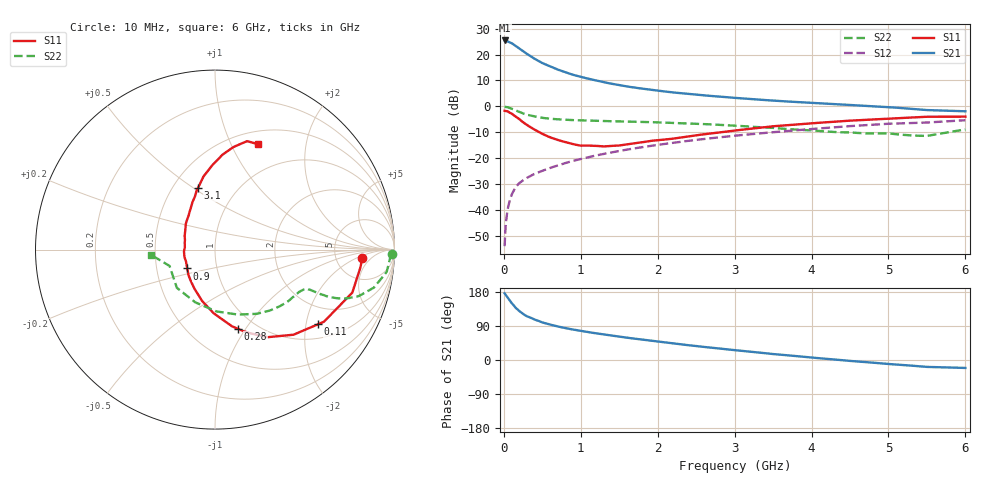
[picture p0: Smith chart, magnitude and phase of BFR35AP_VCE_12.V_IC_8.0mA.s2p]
! Infineon Technologies  Discrete & RF Semiconductors
! BFR35AP
! VCE =  12. V,  IC =  8.0 mA
! Common Emitter S-Parameters:  Nov 2015
# GHz  S  MA  R  50
!  f  S11  S21  S12  S22
! GHz  MAG  ANG  MAG  ANG  MAG  ANG  MAG  ANG
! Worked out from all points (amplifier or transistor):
!   210 points, 10 MHz to 6 GHz, reference 50 ohm
!   highest |S21| = 25.5 dB at 10 MHz (marker M1)
!   |S21| within 3 dB of that: start of sweep to 196.1 MHz
!   unconditionally stable (mu >= 1): 729 MHz to 2.799 GHz
!   at 185 MHz: K = 0.47, MSG = 26.4 dB, |S12| = -30.1 dB
!   at 1.52 GHz: K = 1.09, MAG = 10.8 dB, |S12| = -17.1 dB
!   at 6 GHz: K = 0.87, MSG = 1.7 dB, |S12| = -5.3 dB
!   S11 on the Smith chart (normalised r, x): 10 MHz: 9.37, -2.82; 110 MHz: 1.40, -2.34; 280 MHz: 0.83, -0.92; 900 MHz: 0.72, -0.16; 3.1 GHz: 0.66, +0.52; 6 GHz: 0.65, +1.27
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0.01  0.8219 -3.4  18.74 176.1  0.002 78.8  0.9889 -1.5
0.025  0.8119 -8.8  18.47 171.5  0.0051 79.1  0.9736 -3.7
0.05  0.8016 -17.4  18 164.4  0.0103 79.6  0.9647 -7.4
0.1  0.728 -33.5  16.7 150.7  0.0194 73.8  0.9095 -13.5
0.11  0.7084 -36.0  16.28 148.5  0.0209 72.3  0.8957 -14.3
0.15  0.6452 -47.3  14.85 138.3  0.0271 68.0  0.8423 -17.9
0.2  0.5698 -58.9  13.15 129.3  0.033 64.5  0.7844 -20.3
0.24  0.5075 -66.9  11.93 123.1  0.0364 62.9  0.7417 -21.5
0.28  0.4589 -73.9  10.83 117.9  0.0399 62.7  0.7064 -22.2
0.3  0.4376 -77.5  10.31 115.3  0.0416 62.8  0.6899 -22.5
0.4  0.3554 -91.1  8.298 106.7  0.0498 61.6  0.6374 -22.9
0.5  0.2953 -104.0  6.866 99.1  0.0569 62.3  0.6008 -22.9
0.6  0.2532 -115.5  5.896 93.4  0.0646 63.0  0.5774 -22.9
0.7  0.2254 -125.8  5.144 88.5  0.0723 64.0  0.5627 -23.1
0.9  0.187 -145.9  4.069 80.3  0.0887 64.1  0.5434 -24.1
1.02  0.1746 -158.9  3.651 76.2  0.098 64.3  0.5361 -25.0
1.4  0.1729 167.6  2.735 64.5  0.1292 63.8  0.5174 -28.9
2.02  0.2236 135.2  1.996 48.2  0.1824 60.2  0.4903 -37.7
3.1  0.355 105.6  1.425 24.1  0.2802 50.8  0.4163 -59.5
4.1  0.4828 90.3  1.146 4.7  0.3752 40.0  0.3346 -92.7
5.1  0.5898 78.5  0.945 -11.9  0.4662 26.5  0.2903 -139.4
6  0.6343 67.7  0.804 -21.0  0.5405 15.8  0.3597 -175.6
